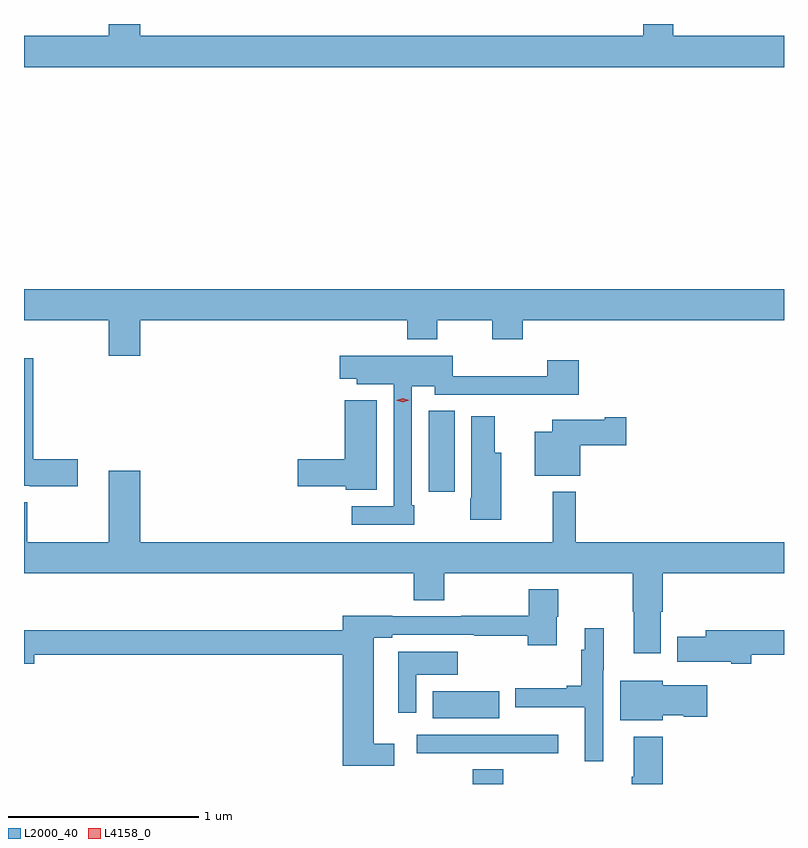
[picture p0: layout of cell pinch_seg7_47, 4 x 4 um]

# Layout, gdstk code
import gdstk
lib = gdstk.Library(unit=1e-6, precision=1e-09)
def R(c, l, rs):  # rectangles x0, y0, x1, y1
    for r in rs: c.add(gdstk.rectangle(r[:2], r[2:], *l))
def P(c, l, *ps):  # polygons
    for p in ps: c.add(gdstk.Polygon(p, *l))
L2000_40 = (2000, 40)
L4158_0 = (4158, 0)

pinch_seg7_47 = lib.new_cell('pinch_seg7_47')
R(pinch_seg7_47, L2000_40, [(910.18,1051.455,910.34,1051.532), (909.967,1051.802,910.317,1051.942), (909.947,1052.994,910.084,1053.419)])
P(pinch_seg7_47, L2000_40, [(911.817,1055.392),(911.235,1055.392),(911.235,1055.455),(911.075,1055.455),(911.075,1055.392),(908.428,1055.392),(908.428,1055.455),(908.264,1055.455),(908.264,1055.392),(907.817,1055.392),(907.817,1055.228),(911.817,1055.228)],
  [(907.817,1053.896),(908.264,1053.896),(908.264,1053.708),(908.428,1053.708),(908.428,1053.896),(909.833,1053.896),(909.833,1053.797),(909.993,1053.797),(909.993,1053.896),(910.282,1053.896),(910.282,1053.797),(910.442,1053.797),(910.442,1053.896),(911.817,1053.896),(911.817,1054.06),(907.817,1054.06)],
  [(909.871,1052.923),(909.858,1052.923),(909.858,1053.548),(909.978,1053.548),(909.978,1053.504),(910.487,1053.504),(910.487,1053.503),(910.736,1053.503),(910.736,1053.685),(910.571,1053.685),(910.571,1053.602),(910.074,1053.602),(910.074,1053.709),(909.48,1053.709),(909.48,1053.587),(909.567,1053.587),(909.567,1053.56),(909.762,1053.56),(909.762,1052.916),(909.543,1052.916),(909.543,1052.82),(909.871,1052.82)],
  [(908.101,1053.164),(907.865,1053.164),(907.865,1053.697),(907.817,1053.697),(907.817,1053.024),(907.848,1053.024),(907.848,1053.022),(908.101,1053.022)],
  [(909.673,1053.475),(909.506,1053.475),(909.506,1053.164),(909.258,1053.164),(909.258,1053.022),(909.51,1053.022),(909.51,1053.005),(909.673,1053.005)],
  [(910.33,1053.199),(910.294,1053.199),(910.294,1053.391),(910.172,1053.391),(910.172,1052.959),(910.165,1052.959),(910.165,1052.847),(910.33,1052.847)],
  [(910.744,1053.239),(910.987,1053.239),(910.987,1053.386),(910.874,1053.386),(910.874,1053.373),(910.598,1053.373),(910.598,1053.31),(910.505,1053.31),(910.505,1053.077),(910.744,1053.077)],
  [(910.721,1052.992),(910.6,1052.992),(910.6,1052.728),(908.428,1052.728),(908.428,1053.103),(908.264,1053.103),(908.264,1052.728),(907.833,1052.728),(907.833,1052.939),(907.817,1052.939),(907.817,1052.564),(909.869,1052.564),(909.869,1052.422),(910.029,1052.422),(910.029,1052.564),(911.02,1052.564),(911.02,1052.362),(911.027,1052.362),(911.027,1052.142),(911.167,1052.142),(911.167,1052.361),(911.18,1052.361),(911.18,1052.564),(911.817,1052.564),(911.817,1052.728),(910.721,1052.728)],
  [(909.766,1051.667),(909.658,1051.667),(909.658,1052.225),(909.754,1052.225),(909.754,1052.241),(910.186,1052.241),(910.186,1052.236),(910.469,1052.236),(910.469,1052.184),(910.621,1052.184),(910.621,1052.334),(910.629,1052.334),(910.629,1052.479),(910.474,1052.479),(910.474,1052.34),(910.117,1052.34),(910.117,1052.337),(909.754,1052.337),(909.754,1052.34),(909.494,1052.34),(909.494,1052.263),(907.817,1052.263),(907.817,1052.087),(907.87,1052.087),(907.87,1052.134),(909.494,1052.134),(909.494,1051.55),(909.766,1051.55)],
  [(910.866,1052.053),(910.867,1052.053),(910.867,1052.275),(910.769,1052.275),(910.769,1052.162),(910.75,1052.162),(910.75,1051.972),(910.673,1051.972),(910.673,1051.959),(910.402,1051.959),(910.402,1051.859),(910.769,1051.859),(910.769,1051.575),(910.866,1051.575)],
  [(911.644,1052.134),(911.817,1052.134),(911.817,1052.263),(911.405,1052.263),(911.405,1052.229),(911.256,1052.229),(911.256,1052.099),(911.54,1052.099),(911.54,1052.087),(911.644,1052.087)],
  [(909.882,1052.03),(910.099,1052.03),(910.099,1052.151),(909.787,1052.151),(909.787,1052.048),(909.786,1052.048),(909.786,1051.83),(909.882,1051.83)],
  [(911.178,1051.817),(911.289,1051.817),(911.289,1051.81),(911.413,1051.81),(911.413,1051.975),(911.178,1051.975),(911.178,1051.999),(910.955,1051.999),(910.955,1051.79),(911.178,1051.79)],
  [(910.63,1051.714),(910.41,1051.714),(910.41,1051.713),(909.885,1051.713),(909.885,1051.617),(910.63,1051.617)],
  [(911.18,1051.705),(911.027,1051.705),(911.027,1051.492),(911.015,1051.492),(911.015,1051.455),(911.18,1051.455)])
P(pinch_seg7_47, L4158_0, [(909.81,1053.465),(909.776,1053.475),(909.776,1053.475),(909.776,1053.475),(909.81,1053.485),(909.845,1053.475),(909.845,1053.475),(909.845,1053.475)])

lib.write_gds('pinch_seg7_47.gds')
